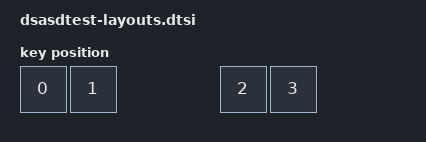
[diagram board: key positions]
#include <physical_layouts.dtsi>

/ {
    physical_layout_dsasdtest: physical_layout_dsasdtest {
        compatible = "zmk,physical-layout";
        display-name = "dsasdasd";
        keys  //                     w   h    x    y     rot    rx    ry
            = <&key_physical_attrs 100 100    0    0       0     0     0>
            , <&key_physical_attrs 100 100  100    0       0   100     0>
            , <&key_physical_attrs 100 100  400    0       0   400     0>
            , <&key_physical_attrs 100 100  500    0       0   500     0>
            ;
    };
};
